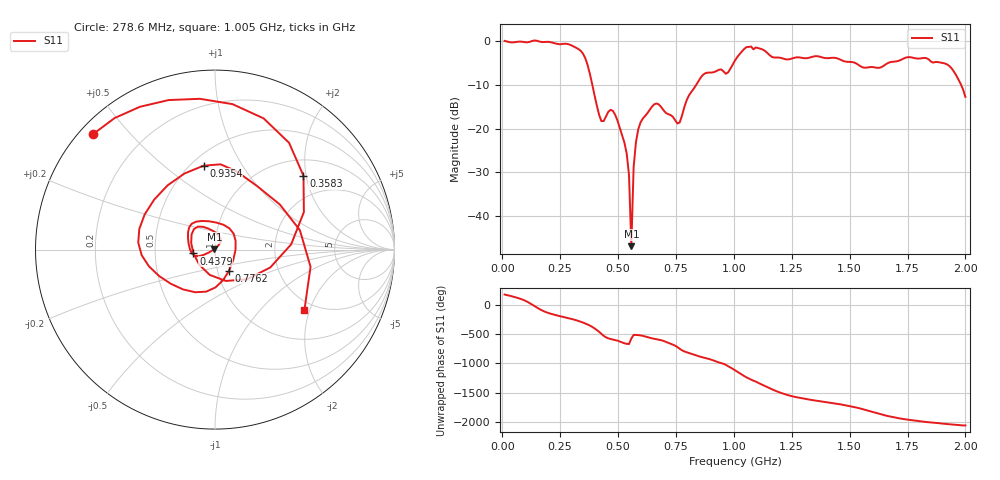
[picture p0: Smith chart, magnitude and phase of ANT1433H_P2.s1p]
!Created with skrf (http://scikit-rf.org).
# Hz S RI R 50.0
!freq ReS11 ImS11
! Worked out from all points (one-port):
!   201 points, 10 MHz to 2 GHz, reference 50 ohm
!   lowest |S11| = -47.0 dB at 557.2 MHz (marker M1), VSWR 1.01, Z = 49.6 + j0.262 ohm
!   |S11| at or under -10 dB: 388.9 MHz to 837.3 MHz (448.4 MHz wide, 73.1 % of centre); 1.982 GHz to end of sweep
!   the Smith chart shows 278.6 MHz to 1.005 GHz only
!   S11 on the Smith chart (normalised r, x): 278.6 MHz: 0.04, +0.40; 358.2 MHz: 1.38, +1.93; 437.9 MHz: 0.78, -0.03; 776.1 MHz: 1.14, -0.27; 935.4 MHz: 0.58, +0.69; 1.005 GHz: 1.74, -1.85
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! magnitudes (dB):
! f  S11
! 10 MHz  0.1
! 258.8 MHz  -0.6
! 278.6 MHz  -0.6
! 358.2 MHz  -3.9
! 417.9 MHz  -16.8
! 437.9 MHz  -18.3
! 467.7 MHz  -15.7
! 507.5 MHz  -19.9
! 537.4 MHz  -25.7
! 547.3 MHz  -30.7
! 557.2 MHz  -47.0
! 567.2 MHz  -28.9
! 577.1 MHz  -23.1
! 597 MHz  -18.6
! 666.7 MHz  -14.3
! 756.2 MHz  -18.8
! 776.1 MHz  -17.0
! 865.7 MHz  -7.7
! 935.4 MHz  -6.5
! 965.2 MHz  -7.4
! 1.005 GHz  -4.4
! 1.075 GHz  -1.2
! 1.254 GHz  -3.9
! 1.502 GHz  -4.7
! 1.622 GHz  -6.1
! 1.751 GHz  -3.6
! 1.93 GHz  -5.6
! 2 GHz  -12.7
